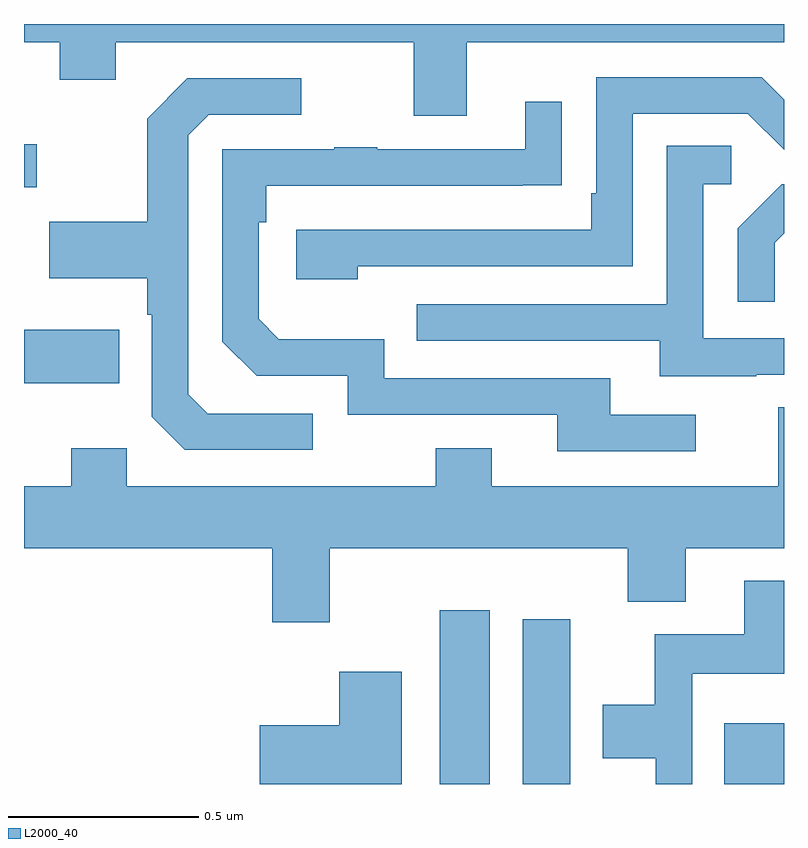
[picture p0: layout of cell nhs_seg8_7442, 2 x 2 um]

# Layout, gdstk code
import gdstk
lib = gdstk.Library(unit=1e-6, precision=1e-09)
def R(c, l, rs):  # rectangles x0, y0, x1, y1
    for r in rs: c.add(gdstk.rectangle(r[:2], r[2:], *l))
def P(c, l, *ps):  # polygons
    for p in ps: c.add(gdstk.Polygon(p, *l))
L2000_40 = (2000, 40)

nhs_seg8_7442 = lib.new_cell('nhs_seg8_7442')
R(nhs_seg8_7442, L2000_40, [(211.094,1095.9,211.225,1096.357), (211.313,1095.9,211.438,1096.333), (211.843,1095.9,212,1096.06), (210,1096.955,210.251,1097.095), (210,1097.471,210.034,1097.584)])
P(nhs_seg8_7442, L2000_40, [(211.165,1097.852),(212,1097.852),(212,1097.9),(210,1097.9),(210,1097.852),(210.094,1097.852),(210.094,1097.753),(210.241,1097.753),(210.241,1097.852),(211.025,1097.852),(211.025,1097.658),(211.165,1097.658)],
  [(210.878,1097.262),(211.602,1097.262),(211.602,1097.664),(211.905,1097.664),(212,1097.569),(212,1097.701),(211.941,1097.76),(211.506,1097.76),(211.506,1097.455),(211.493,1097.455),(211.493,1097.358),(210.717,1097.358),(210.717,1097.228),(210.878,1097.228)],
  [(210.76,1096.875),(210.483,1096.875),(210.432,1096.926),(210.432,1097.607),(210.486,1097.661),(210.73,1097.661),(210.73,1097.757),(210.429,1097.757),(210.324,1097.651),(210.324,1097.379),(210.067,1097.379),(210.067,1097.231),(210.324,1097.231),(210.324,1097.135),(210.336,1097.135),(210.336,1096.866),(210.423,1096.779),(210.76,1096.779)],
  [(211.768,1096.872),(211.543,1096.872),(211.543,1096.968),(210.948,1096.968),(210.948,1097.071),(210.671,1097.071),(210.618,1097.124),(210.618,1097.378),(210.638,1097.378),(210.638,1097.475),(211.313,1097.475),(211.313,1097.476),(211.415,1097.476),(211.415,1097.695),(211.319,1097.695),(211.319,1097.571),(210.929,1097.571),(210.929,1097.576),(210.817,1097.576),(210.817,1097.571),(210.522,1097.571),(210.522,1097.064),(210.612,1096.974),(210.852,1096.974),(210.852,1096.872),(211.403,1096.872),(211.403,1096.776),(211.768,1096.776)],
  [(211.927,1096.977),(212,1096.977),(212,1097.073),(211.788,1097.073),(211.788,1097.478),(211.861,1097.478),(211.861,1097.579),(211.692,1097.579),(211.692,1097.163),(211.033,1097.163),(211.033,1097.067),(211.673,1097.067),(211.673,1096.973),(211.927,1096.973)],
  [(211.975,1097.325),(212,1097.35),(212,1097.478),(211.994,1097.478),(211.878,1097.362),(211.878,1097.169),(211.975,1097.169)],
  [(210.805,1096.52),(211.589,1096.52),(211.589,1096.379),(211.741,1096.379),(211.741,1096.52),(212,1096.52),(212,1096.892),(211.985,1096.892),(211.985,1096.684),(211.231,1096.684),(211.231,1096.783),(211.084,1096.783),(211.084,1096.684),(210.27,1096.684),(210.27,1096.783),(210.124,1096.783),(210.124,1096.684),(210,1096.684),(210,1096.52),(210.653,1096.52),(210.653,1096.326),(210.805,1096.326)],
  [(211.758,1096.19),(212,1096.19),(212,1096.435),(211.895,1096.435),(211.895,1096.294),(211.66,1096.294),(211.66,1096.108),(211.523,1096.108),(211.523,1095.968),(211.662,1095.968),(211.662,1095.9),(211.758,1095.9)],
  [(210.994,1096.195),(210.83,1096.195),(210.83,1096.054),(210.621,1096.054),(210.621,1095.9),(210.994,1095.9)])

lib.write_gds('nhs_seg8_7442.gds')
